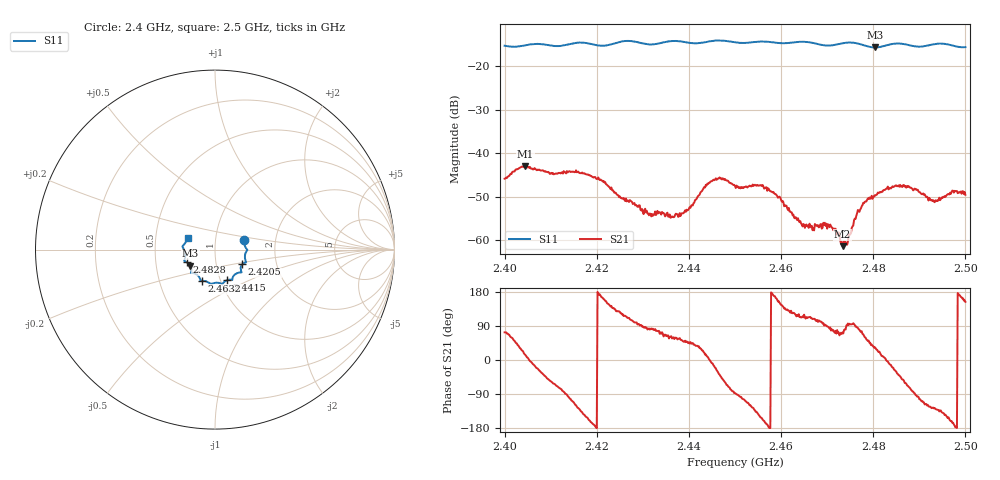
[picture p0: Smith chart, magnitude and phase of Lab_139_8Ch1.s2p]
# Hz S RI R 50
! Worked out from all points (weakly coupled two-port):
!   601 points, 2.4 GHz to 2.5 GHz, reference 50 ohm
!   highest |S21| = -42.95 dB at 2.4045 GHz (marker M1); lowest = -61.3 dB at 2.4733 GHz (marker M2)
!   lowest |S11| = -15.7 dB at 2.4803 GHz (marker M3), VSWR 1.39, Z = 37.4 - j6.85 ohm
!   |S11| at or under -10 dB: start of sweep to end of sweep
!   S12 and S22 are empty: the file has one direction only
!   S11 on the Smith chart (normalised r, x): 2.4 GHz: 1.38, +0.15; 2.4205 GHz: 1.34, -0.23; 2.4415 GHz: 1.07, -0.38; 2.4632 GHz: 0.82, -0.29; 2.4828 GHz: 0.72, -0.10; 2.5 GHz: 0.73, +0.10
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2.4e9  0.1636 0.0516  0.00149 0.00488  0 0  0 0
2.4045e9  0.1735 0.00686  0.00692 0.00166  0 0  0 0
2.416667e9  0.173 -0.07  -0.00428 -0.00407  0 0  0 0
2.4205e9  0.152 -0.0817  -0.00498 0.000677  0 0  0 0
2.433333e9  0.1001 -0.1517  0.000494 0.00198  0 0  0 0
2.438167e9  0.0931 -0.1687  0.00113 0.00153  0 0  0 0
2.4415e9  0.0659 -0.1707  0.00234 0.00178  0 0  0 0
2.446167e9  0.0411 -0.193  0.00441 -0.00247  0 0  0 0
2.45e9  0.0243 -0.1862  0.000205 -0.00421  0 0  0 0
2.456333e9  -0.0229 -0.1904  -0.00371 -0.00129  0 0  0 0
2.463167e9  -0.073 -0.1739  -0.0009 0.00162  0 0  0 0
2.466667e9  -0.0821 -0.167  -0.000511 0.00138  0 0  0 0
2.470667e9  -0.1054 -0.1371  0.000113 0.00152  0 0  0 0
2.473333e9  -0.1288 -0.1302  0.000258 0.000819  0 0  0 0
2.474667e9  -0.1337 -0.1303  -4.53e-05 0.00118  0 0  0 0
2.477833e9  -0.1309 -0.1157  0.00102 0.0025  0 0  0 0
2.480333e9  -0.1376 -0.0891  0.00274 0.00184  0 0  0 0
2.482833e9  -0.1584 -0.0701  0.00392 -7.09e-05  0 0  0 0
2.483333e9  -0.1623 -0.0682  0.00382 -0.000508  0 0  0 0
2.487833e9  -0.1672 -0.0485  0.00123 -0.00391  0 0  0 0
2.493167e9  -0.1784 0.0106  -0.0017 -0.00221  0 0  0 0
2.5e9  -0.1525 0.0643  -0.00299 0.00148  0 0  0 0
